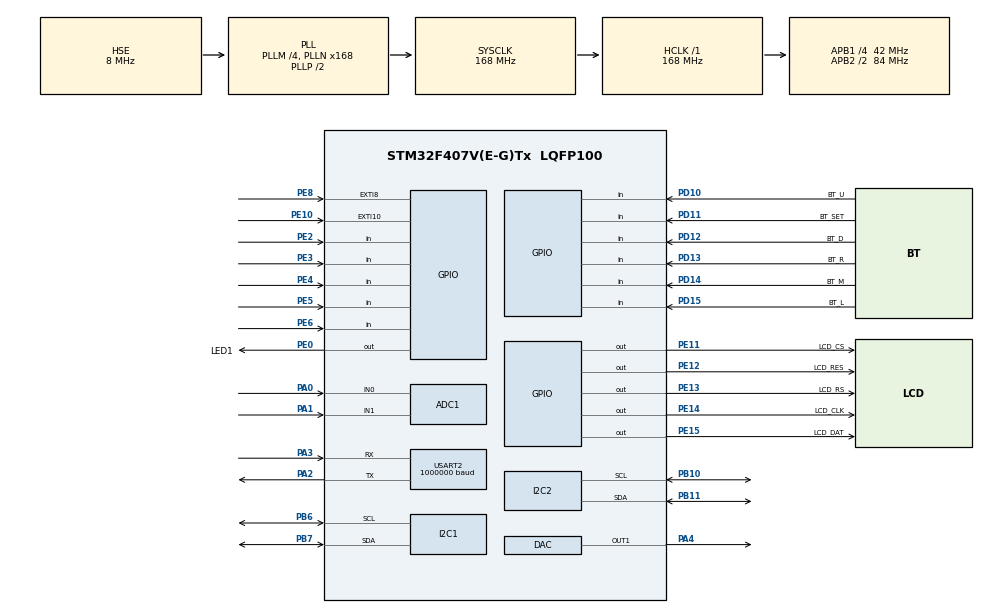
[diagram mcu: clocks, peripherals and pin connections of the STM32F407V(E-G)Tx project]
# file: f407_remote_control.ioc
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ADC1.Channel-1\#ChannelRegularConversion=ADC_CHANNEL_0
ADC1.Channel-2\#ChannelRegularConversion=ADC_CHANNEL_1
ADC1.Channel-3\#ChannelRegularConversion=ADC_CHANNEL_TEMPSENSOR
ADC1.Channel-4\#ChannelRegularConversion=ADC_CHANNEL_VREFINT
ADC1.DMAContinuousRequests=ENABLE
ADC1.ExternalTrigConv=ADC_EXTERNALTRIGCONV_T4_CC4
ADC1.InjNumberOfConversion=0
ADC1.NbrOfConversion=4
ADC1.NbrOfConversionFlag=1
ADC1.Rank-1\#ChannelRegularConversion=1
ADC1.Rank-2\#ChannelRegularConversion=2
ADC1.Rank-3\#ChannelRegularConversion=3
ADC1.Rank-4\#ChannelRegularConversion=4
ADC1.SamplingTime-1\#ChannelRegularConversion=ADC_SAMPLETIME_144CYCLES
ADC1.SamplingTime-2\#ChannelRegularConversion=ADC_SAMPLETIME_144CYCLES
ADC1.SamplingTime-3\#ChannelRegularConversion=ADC_SAMPLETIME_144CYCLES
ADC1.SamplingTime-4\#ChannelRegularConversion=ADC_SAMPLETIME_144CYCLES
ADC1.master=1
Dma.ADC1.0.Direction=DMA_PERIPH_TO_MEMORY
Dma.ADC1.0.FIFOMode=DMA_FIFOMODE_DISABLE
Dma.ADC1.0.Instance=DMA2_Stream0
Dma.ADC1.0.MemDataAlignment=DMA_MDATAALIGN_HALFWORD
Dma.ADC1.0.MemInc=DMA_MINC_ENABLE
Dma.ADC1.0.Mode=DMA_CIRCULAR
Dma.ADC1.0.PeriphDataAlignment=DMA_PDATAALIGN_HALFWORD
Dma.ADC1.0.PeriphInc=DMA_PINC_DISABLE
Dma.ADC1.0.Priority=DMA_PRIORITY_LOW
Dma.MEMTOMEM.1.Direction=DMA_MEMORY_TO_MEMORY
Dma.MEMTOMEM.1.FIFOMode=DMA_FIFOMODE_ENABLE
Dma.MEMTOMEM.1.FIFOThreshold=DMA_FIFO_THRESHOLD_FULL
Dma.MEMTOMEM.1.Instance=DMA2_Stream1
Dma.MEMTOMEM.1.MemBurst=DMA_MBURST_SINGLE
Dma.MEMTOMEM.1.MemDataAlignment=DMA_MDATAALIGN_WORD
Dma.MEMTOMEM.1.MemInc=DMA_MINC_ENABLE
Dma.MEMTOMEM.1.Mode=DMA_NORMAL
Dma.MEMTOMEM.1.PeriphBurst=DMA_PBURST_SINGLE
Dma.MEMTOMEM.1.PeriphDataAlignment=DMA_PDATAALIGN_WORD
Dma.MEMTOMEM.1.PeriphInc=DMA_PINC_ENABLE
Dma.MEMTOMEM.1.Priority=DMA_PRIORITY_LOW
Dma.Request0=ADC1
Dma.Request1=MEMTOMEM
I2C1.I2C_Mode=I2C_Standard
I2C2.I2C_Mode=I2C_Fast
Mcu.Family=STM32F4
Mcu.Name=STM32F407V(E-G)Tx
Mcu.Package=LQFP100
NVIC.ADC_IRQn=true\:0\:0\:false\:false\:true\:true\:true\:true
NVIC.DMA2_Stream0_IRQn=true\:0\:0\:false\:false\:true\:false\:true\:true
NVIC.PriorityGroup=NVIC_PRIORITYGROUP_4
NVIC.USART2_IRQn=true\:0\:0\:false\:false\:true\:true\:true\:true
PA0-WKUP.Signal=ADCx_IN0
PA1.Signal=ADCx_IN1
PA13.Mode=Trace_Asynchronous_SW
PA13.Signal=SYS_JTMS-SWDIO
PA14.Mode=Trace_Asynchronous_SW
PA14.Signal=SYS_JTCK-SWCLK
PA2.Mode=Asynchronous
PA2.Signal=USART2_TX
PA3.Mode=Asynchronous
PA3.Signal=USART2_RX
PA4.Signal=COMP_DAC1_group
PB10.Mode=I2C
PB10.Signal=I2C2_SCL
PB11.Mode=I2C
PB11.Signal=I2C2_SDA
PB3.Mode=Trace_Asynchronous_SW
PB3.Signal=SYS_JTDO-SWO
PB6.Mode=I2C
PB6.Signal=I2C1_SCL
PB7.Mode=I2C
PB7.Signal=I2C1_SDA
PD10.GPIO_Label=BT_U
PD10.GPIO_PuPd=GPIO_PULLUP
PD10.Signal=GPIO_Input
PD11.GPIO_Label=BT_SET
PD11.GPIO_PuPd=GPIO_PULLUP
PD11.Signal=GPIO_Input
PD12.GPIO_Label=BT_D
PD12.GPIO_PuPd=GPIO_PULLUP
PD12.Signal=GPIO_Input
PD13.GPIO_Label=BT_R
PD13.GPIO_PuPd=GPIO_PULLUP
PD13.Signal=GPIO_Input
PD14.GPIO_Label=BT_M
PD14.GPIO_PuPd=GPIO_PULLUP
PD14.Signal=GPIO_Input
PD15.GPIO_Label=BT_L
PD15.GPIO_PuPd=GPIO_PULLUP
PD15.Signal=GPIO_Input
PE0.GPIO_Label=LED1
PE0.Signal=GPIO_Output
PE10.GPIO_PuPd=GPIO_PULLUP
PE10.Signal=GPXTI10
PE11.GPIO_Label=LCD_CS
PE11.GPIO_PuPd=GPIO_NOPULL
PE11.GPIO_Speed=GPIO_SPEED_FREQ_HIGH
PE11.Signal=GPIO_Output
PE12.GPIO_Label=LCD_RES
PE12.GPIO_Speed=GPIO_SPEED_FREQ_LOW
PE12.Signal=GPIO_Output
PE13.GPIO_Label=LCD_RS
PE13.GPIO_Speed=GPIO_SPEED_FREQ_HIGH
PE13.Signal=GPIO_Output
PE14.GPIO_Label=LCD_CLK
PE14.GPIO_Speed=GPIO_SPEED_FREQ_VERY_HIGH
PE14.Signal=GPIO_Output
PE15.GPIO_Label=LCD_DAT
PE15.GPIO_Speed=GPIO_SPEED_FREQ_VERY_HIGH
PE15.Signal=GPIO_Output
PE2.Signal=GPIO_Input
PE3.Signal=GPIO_Input
PE4.Signal=GPIO_Input
PE5.Signal=GPIO_Input
PE6.Signal=GPIO_Input
PE8.GPIO_PuPd=GPIO_PULLUP
PE8.Signal=GPXTI8
PH0-OSC_IN.Mode=HSE-External-Oscillator
PH0-OSC_IN.Signal=RCC_OSC_IN
PH1-OSC_OUT.Mode=HSE-External-Oscillator
PH1-OSC_OUT.Signal=RCC_OSC_OUT
ProjectManager.HeapSize=0x400
ProjectManager.StackSize=0x800
ProjectManager.TargetToolchain=STM32CubeIDE
RCC.48MHZClocksFreq_Value=48000000
RCC.AHBFreq_Value=168000000
RCC.APB1CLKDivider=RCC_HCLK_DIV4
RCC.APB1Freq_Value=42000000
RCC.APB1TimFreq_Value=84000000
RCC.APB2CLKDivider=RCC_HCLK_DIV2
RCC.APB2Freq_Value=84000000
RCC.APB2TimFreq_Value=168000000
RCC.CortexFreq_Value=168000000
RCC.HCLKFreq_Value=168000000
RCC.HSE_VALUE=8000000
RCC.HSICalibrationValue=16
RCC.HSI_VALUE=16000000
RCC.LSE_VALUE=32768
RCC.PLLM=4
RCC.PLLN=168
RCC.PLLQ=7
RCC.PLLSourceVirtual=RCC_PLLSOURCE_HSE
RCC.SYSCLKFreq_VALUE=168000000
RCC.SYSCLKSource=RCC_SYSCLKSOURCE_PLLCLK
RCC.VCOOutputFreq_Value=336000000
SH.ADCx_IN0.0=ADC1_IN0,IN0
SH.ADCx_IN1.0=ADC1_IN1,IN1
SH.COMP_DAC1_group.0=DAC_OUT1,DAC_OUT1
TIM4.Channel-Output\ Compare4\ No\ Output=TIM_CHANNEL_4
TIM4.ClockDivision=TIM_CLOCKDIVISION_DIV2
TIM4.OCMode_4=TIM_OCMODE_TOGGLE
TIM4.Period=500
TIM4.Prescaler=41999
USART2.BaudRate=1000000
USART2.VirtualMode=VM_ASYNC
VP_ADC1_TempSens_Input.Mode=IN-TempSens
VP_ADC1_Vref_Input.Mode=IN-Vrefint
VP_CRC_VS_CRC.Mode=CRC_Activate
VP_RNG_VS_RNG.Mode=RNG_Activate
VP_TIM4_VS_ClockSourceINT.Mode=Internal
VP_TIM4_VS_no_output4.Mode=Output Compare4 No Output
board=custom

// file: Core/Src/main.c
/* USER CODE BEGIN Header */
/**
  ******************************************************************************
  * @file           : main.c
  * @brief          : Main program body
  ******************************************************************************
  * @attention
  *
  * Copyright (c) 2024 STMicroelectronics.
  * All rights reserved.
  *
  * This software is licensed under terms that can be found in the LICENSE file
  * in the root directory of this software component.
  * If no LICENSE file comes with this software, it is provided AS-IS.
  *
  ******************************************************************************
  * Author: Maltsev Yuriy
  */

/* USER CODE END Header */
#include "main.h"

/* USER CODE BEGIN Includes */
#include <stdio.h>    // printf
#include <stdbool.h>
#include <stdlib.h>   // atoi
#include <stdint.h>   // uint32_t uint8_t
#include <string.h>   // strlen, strcmp
#include <ctype.h>    // isxdigit isspace toupper
//#include <signal.h>
//#include <time.h>
//#include <sys/time.h>
//#include <sys/times.h>

#include "os.h"
#include "CRC.h"
#include "buttons.h"
#include "../BH1750/bh1750.h" // либо включить папку в список путей. Правой - Add/remove include path
#include "eeprom.h"
#include "i2c.h"
#include "bmp280.h"
#include "ATH25.h"
#include "testspeedcopy.h"
//#include "mt6701.h"

// то что хотим видеть в глобальной области видимости, подключаем непосредственно в "main.h"

/* USER CODE END Includes */

ADC_HandleTypeDef hadc1;
DMA_HandleTypeDef hdma_adc1;

CRC_HandleTypeDef hcrc;

DAC_HandleTypeDef hdac;

I2C_HandleTypeDef hi2c1;
I2C_HandleTypeDef hi2c2;

RNG_HandleTypeDef hrng;

TIM_HandleTypeDef htim4;

UART_HandleTypeDef huart2;

DMA_HandleTypeDef hdma_memtomem_dma2_stream1;

void SystemClock_Config(void);
static void MX_GPIO_Init(void);
static void MX_DMA_Init(void);
static void MX_ADC1_Init(void);
static void MX_CRC_Init(void);
static void MX_DAC_Init(void);
static void MX_I2C1_Init(void);
static void MX_I2C2_Init(void);
static void MX_RNG_Init(void);
static void MX_TIM4_Init(void);
static void MX_USART2_UART_Init(void);
/* USER CODE BEGIN PFP */
// область для объявления приватных функций
void command_ch(char);
void command_str(char*);
void command_bin(char*);
/* USER CODE END PFP */

/* USER CODE BEGIN 0 */
//int fputc(int ch, FILE *f){
int __io_putchar(int ch){
	ITM_SendChar((uint32_t) ch); // блокирующий режим встроен
	while (HAL_UART_Transmit(&huart2, (unsigned char*) &ch, 1, 10) == HAL_BUSY); // может вернуть HAL_ERROR, HAL_BUSY
	//while( CDC_Transmit_FS((uint8_t *)&ch, 1) == USBD_BUSY ); // USBD_FAIL , USBD_BUSY
	return ch;
}

// ещё способ передачи
void USART2_putch(char c) {
	//оидание готовности
	while (!(USART2->SR & USART_SR_TXE));
	USART2->DR = c;
}
void USART2_sendstr(const char *s) {
	while (*s)
		USART2_putch(*s++);
}

uint16_t adc[4] = {0};

char bufLCDstr[100] = { 0 };

/* callback на завершение преобразования ADC */
void HAL_ADC_ConvCpltCallback(ADC_HandleTypeDef* hadc) {
	if (hadc->Instance == ADC1) {
		//HAL_ADC_Stop_DMA(hadc);
		float vdd = (1 * 1.2f * 4096) / adc[3]; // если внутреннее опорное ровно 1.2В
		//printf("callback ADC: %4d, Tout= %4d (%.1f C), vdd= %4d (%.3f V), Tint= %4d\r\n", adc[0], adc[1], TMP36convertToTemperature(adc[1]), adc[2], vdd, adc[3]);
		printf("callback ADC: A0:%4d, A1:%4d, Tint=%4d, vdd=%4d (%.3f V)\r\n", adc[0], adc[1], adc[2], adc[3], vdd);
		//HAL_Delay(1);
		//HAL_ADC_Start_DMA(hadc, (uint32_t*)adcDMA, 4); // нужно перезапускать если не континуос режим и запуск не от таймера

		// LCD print
		ColorInk=BLACK;
		ColorBack=WHITE;
		//memset(bufLCDstr, 0, 100);
		sprintf(bufLCDstr, " Vdd:  %.3f V\n ADC1: %4d\n ADC2: %4d", vdd, adc[0], adc[1]);
		printstr_lcd(bufLCDstr, 0, 0, 1, 1);

#ifdef INC_MT6701_H_
		//task5_MT6701();
		uint16_t rez_raw = mt6701_read();
		float deg = rez_raw * (360.0f / 16384.0f);
		printf(" MT6701 = raw: %4d, deg: %.3f\r\n", rez_raw, deg);
#endif
		//memset(bufLCDstr, 0, 100);
		//sprintf(bufLCDstr, " MT6701: %4d\n deg: %.3f", rez_raw, deg);
		//printstr_lcd(bufLCDstr, 0, 4, 1, 1);

		//printchr_lcd('*', 0, 0, 1, 1);
		//lcd_prn(bufLCDstr);
	}
}

void HAL_GPIO_EXTI_Callback(uint16_t GPIO_Pin) {
	printf("GPIO_EXTI_callback %d\r\n", GPIO_Pin);
}

TaskInitTypeDef* t_BMP280;

/*--------------------------- UART RX ----------------------------------------*/
// ver 1.1
// Драйвер для приёма посылок через UART в асинхронном режиме.
// При получении данных ждём таймаут после которого понимаем что пора обработать полученное.
// Можно развить до следующего слоя абстрации, чтобы обрабатывать по счётчику принятых данных,
// или по команде переданной в начале фрейма.
// 11-12мсек на 1024 символа при 1млн бод = 0.68-0.74% эффективность канала
// RX_BUF_LEN * 8/(0.7 * bod) * 1.2 = X секунд для заполнения буфера с запасом 20%
// сократив выражение для 1млн бод Ttransmit (мсек) = RX_BUF_LEN * 0,014

//#define UART_DEBUG // закомментировать если не нужна отладка приёма UART
#define UART &huart2
#define HDMA_MEM2MEM &hdma_memtomem_dma2_stream1
#define RX_BUF_LEN 1024  //для DMA делать кратным uint32 - 4 байта
#define TICK_WAIT_RX 50  //3.5 ms для 256 byte
uint8_t chRx = 0;
char bufRx1[RX_BUF_LEN] = { 0 };
char bufRx2[RX_BUF_LEN] = { 0 };
volatile uint16_t idx = 0;
volatile uint16_t lenRxData = 0;
volatile uint8_t isFull = 0; // флаг переполнения
uint8_t isReciveCmplete = 0; // флаг приёма перевода строки
uint32_t UARTtimeout = 0;

#define _PRNFAST(s) HAL_UART_Transmit_IT(UART, (uint8_t*)s, sizeof(s)-1); HAL_Delay(1);

uint8_t isDMA = 0;
#if defined(STM32F407xx)
uint16_t maxlen = 500;
#else
uint16_t maxlen = 100;
#endif

/* Определил на практике следующие размеры буфера, которые может переварить данное ядро без пропуска данных.
 * f103 memcpy maxlen bytes 108 - 112 зависает, 104 справлятся, в DMA режиме - 512 справляется, чуть выше зависает
 * f407ve memcpy 524 байт виснет, 520 работает, DMA- 1856 работает, 1860 виснет
 * */

void HAL_UART_RxCpltCallback(UART_HandleTypeDef *huart) {
	//while (HAL_UART_Transmit(&huart1, (unsigned char*) bufRx, strlen(bufRx), 30) == HAL_BUSY); // для примера
	UARTtimeout = HAL_GetTick(); // сбрасываем таймаут приёма по которому начнём парсинг
	// доп проверка нужна чтобы избежать выхода за верхнюю границу на случай заполнения обоих буферв
	if (maxlen > RX_BUF_LEN)
		maxlen = RX_BUF_LEN;
	if (idx < maxlen - 1)
		bufRx1[idx++] = chRx;

	// TO DO: здесь можно добавить проверку:
	// если первый символ например указывает что будут бинарные данные, то принять байт длинны посылки и выполнять внешний код при заполнении
	// или если строковая то ждём /r /n.
	if (chRx == '\n' && bufRx1[0] != '*') {
		isReciveCmplete = 1; // начнётся обработка строки при следующем запуске task4_uartRx() не дожидаясь таймаута
	}

	/* Если второй буфер и так полный и первый тоже заполнился, то прерывания продолжаем,
	 * но новые данные не сохраняем (будут потери).
	 * Иначе перебросим данные из первого во второй и выставим флаг переполнения.
	 * memcpy не успевает скопировать от 100 до 120 байт без пропуска следующего символа на 1млн бод
	 * Получаем скорость копирования около 11МГц. volatile не спасает, как и оптимизация.
	 * Можно попробовать ускорить с помощью DMA, либо использовать блинный буфер,
	 * который точно не переполнится при самой длинной команде или данных. */
	if ((isFull == 0) && (idx >= maxlen - 1)) {	//if ((chRx[0] == '\n') || (idx >= RX_BUF_LEN - 1 - 0)) {
		bufRx1[maxlen - 1] = 0; // '\0' символ, если вдруг буду использовать как string
		if (isDMA == 0) {
			memcpy(bufRx2, bufRx1, maxlen); // strcpy не подходит тк данные могут быть бинарными
		} else {
			HAL_DMA_Start(HDMA_MEM2MEM, (uint32_t) bufRx1, (uint32_t) bufRx2, maxlen / 4);
			HAL_DMA_PollForTransfer(HDMA_MEM2MEM, HAL_DMA_FULL_TRANSFER, HAL_MAX_DELAY);
		}
		idx = 0;
		lenRxData = maxlen;
		isFull = 1;
		//_PRNFAST("_ENDF_\r\n");
	}
	// запрашиваем следующий байт данных из порта через прерывание
	HAL_UART_Receive_IT(UART, &chRx, 1);
}

/*
 * Полингом проверяем есть ли флаг переполнения входного буфера,
 * а так же был ли таймаут приёма.
 * TO DO: желательно начинать парсинг данных не по таймауту, а по сигнатуре конца посылки,
 * например для строк и символов это окончание строки \r или \n.
 * Для бинарных иной вариант, например фиксированная длинна, или длинна указанная в первом байте.
 */
void task4_uartRx() {
	// был переполнен входной буфер, данные уже лежат в bufRx2
	// нежелательное событие, так как данные либо не были вовремя обработаны и
	// скопилась очередь, либо пришла команда длинее чем входной буфер.
	if (isFull != 0) {
		_PRNFAST("_FULL_BUF_\r\n");
#ifdef UART_DEBUG
		HAL_StatusTypeDef stat = HAL_UART_Transmit_IT(UART, (uint8_t*) bufRx2, maxlen-1);
		HAL_Delay(TICK_WAIT_RX);
		if (stat != HAL_OK) {
			_PRNFAST("*");
		}
		_PRNFAST("_ENDF_\r\n");
#endif
		// тут должна быть обработка данных в буфере
		isFull = 0; // не сбрасываем пока до конца не обработали данные буфера
	}
	// данные в bufRx1, таймаут TICK_WAIT_RX мс
	if (idx > 0) {
		if (isReciveCmplete || (HAL_GetTick() > UARTtimeout + TICK_WAIT_RX)) {
			/*uint16_t n = idx;
			idx = 0; // как можно быстрее готовим к приёму данных
			memcpy(bufRx2, bufRx1, n);*/

			memcpy(bufRx2, bufRx1, idx);
			bufRx2[idx] = 0; // конец строки

#ifdef UART_DEBUG
			_PRNFAST("_T_");
			HAL_StatusTypeDef stat = HAL_UART_Transmit_IT(UART, (uint8_t*) bufRx2, idx);
			HAL_Delay(TICK_WAIT_RX);
			if (stat != HAL_OK) {
				_PRNFAST("!");
			}
			_PRNFAST("_END_T_\r\n");
#endif
			lenRxData = idx;
			idx = 0;
			isFull = 0;
			isReciveCmplete = 0;
			//UARTtimeout = HAL_GetTick();
			//char tmpbuf[20];
			//itoa((UARTtimeout - HAL_GetTick()), tmpbuf);
			printf("timeout: %d\r\n", (int) (HAL_GetTick() - UARTtimeout));

			/* TO DO: добавить семафор, чтобы не копировались данные из bufRx1 в bufRx2
			 * пока не завершилась обработка данных из буфера		 */

			// разделяем строковые (начинаются с '_'), бинарные (начинаются с '*') и односимвольные команды
			if (bufRx2[0] == '*') { //первый символ '*' значит бинарный поток данных
				command_bin(bufRx2);
			} else if (bufRx2[0] != 0 && bufRx2[0] != '\r' && bufRx2[0] != '\n') { // первый символ не конец сообщения
				if (bufRx2[1] == 0 || bufRx2[1] == '\r' || bufRx2[1] == '\n') {    // второй символ - конец сообщения
					command_ch(*bufRx2);  // значит приняли односимвольную команду
				} else
					command_str(bufRx2);  // иначе приняли строковую команду
			}

			/* if (*bufRx2 == '_') {
				command_str(bufRx2 + 1); // пропустим первый символ '_'
			} else if (*bufRx2 == '*') {
				command_bin(bufRx2 + 1); // пропустим первый символ '*'
			} else {
				command_ch(*bufRx2);
			} */
		}
	}
}

/* парсим бинарные команды
 * принять бинарный поток данных без символа \n для управления адресной светодиодной лентой
 * message format: ['*'][idx_led (1 byte)][size data (2 bytes)][data r,g,b (3*n bytes)]
 */
void command_bin(char *str) {
	USART2_sendstr("Recive bin\r\n");

	/* uint16_t len, count, i;
	uint16_t n;
	len = 0;
	count = 0;
	n = 0;
	i = 1; // пропустим первый символ '*'
	if (lenRxData >= 3) {
		n = (uint8_t) str[i++];
		len = ((uint8_t) str[i++] << 8) | (uint8_t) str[i++];
	}
	while (i < lenRxData && count < len) {
		count += 3;
		// count += Serial.readBytes(cmdStr, 3);
		if (n <= strip.numPixels()) //NUM_LEDS  strip.numPixels() ->uint16_t
			strip.setPixelColor(n++, str[i++], str[i++], str[i++]); //(uint16_t n, uint8_t r, uint8_t g, uint8_t b);
	}
	*/
}

// парсим строковые команды
// _XXX

 /* TODO: может вместо inline и strlen использовать макрос заменяющий следующее:
 sizeof вычисляется компилятором, strlen же занимает процессорное время.
 strncmp(cmdStr, "del", sizeof("del")-1) == 0
 static inline bool  //байт 61844  -> 61828  ->  61812 -> 61796 (замена всех на compCmd2)
#define CMPCMD(c) (strncmp(cmdStr, (c), sizeof((c))-1) == 0)
static inline bool compCmd2(const char* cmd){
  return strncmp(bufRx2, cmd, strlen(cmd)) == 0;
}
if (strncmp(token, "_i2c", strlen("_i2c")) == 0) {;}
Если сравнивать подстроку то пользуемся
int strncmp(const char *str1, const char *str2, size_t n).
Если сравниваем строки учитывая их длины то
int strcmp(const char *str1, const char *str2);

if (compCmd(token, "test")) {}
*/
static inline bool compCmd(char* str, const char* cmd){
  return strncmp(str, cmd, strlen(cmd)) == 0;
}

bool nextArg(char **token, uint8_t len, uint8_t isHex) {
	*token = strtok(NULL, " ");
	//printf("nextArg: %s\r\n", *token);
	if (*token == NULL) {
		printf("arg is NULL\r\n");
		return false;
	} else if (strlen(*token) != len) {
		printf("arg len != %d, token: \'%s\'\r\n", len, *token);
		return false;
	} else if (isHex == 1) {
		for (uint8_t i = 0; i < len; ++i) {
			char ch = (*token)[i];
			if (!isxdigit(ch)) { // проверяет, является ли c шестнадцатеричной цифрой
				printf("arg not hex: \'%s\'\r\n", *token);
				return false;
			}
		}
	}
	return true;
}

/** Команды для управления переферией через UART
_i2c bus_addr7_hex  'w/r' len_addr[0..2] reg_addr16_hex len_data16_hex *data_hex
_i2c 52 w 1 0010 0003 0A1B2C
_i2c 52 r 1 0000 0020
_i2c 52 r 0 0000 0010

_i2c 57 w 2 0010 0003 0A1B2C
_i2c 57 r 2 0000 00ff

DS3231
_i2c 68 r 1 0000 0013                       DS3231 read all registers
_i2c 68 w 1 0000 0007 00000000000000        DS3231 clear datetime
_i2c 68 w 1 0000 0007 00521800030423        DS3231 write datetime dt[0:6] c:m:h:00:d:m:y
_i2c 68 w 1 0000 0003 005218                DS3231 write time dt[0:2] c:m:h

INA226
_i2c 40 r 1 0001 0002   INA226 SHUNT_VOLTAGE  sign16 (1 LSB = 2.5 uV) R=0.1 Om
_i2c 40 r 1 0002 0002   INA226 BUS_VOLTAGE  unsign16 (1 LSB = 1.25 mV)

#define I2C_ADDR_24C02  0x52  // AT24C02, (A0 & A2 = GND, A1 = Vcc) I2C address: 0x52 = b1010010 = dec: 82
#define I2C_ADDR_24C32  0x57  // AT24C32,I2C address 0x57, bin: 01010111, dec: 87  (4096 x 8) page 32 bytes
#define I2C_ADDR_INA226 0x40  // INA226, I2C address 0x40, bin: 01000000
#define I2C_ADDR_OLED   0x3C  // OLED,   I2C address 0x3C, bin: 00111100, dec: 60
#define I2C_ADDR_DS3231 0x68  // RTC_DS3231, address 0x68, bin: 01101000, dec: 104
*/
void command_str(char *str) {
	//str++; // пропустим первый символ '_'
	USART2_sendstr("Recive: \'");
	USART2_sendstr(str); // echo
	USART2_sendstr("\'\r\n");
	char *token; // указатель на подстроку в str. Строка str изменяется командой strtok!!!
	token = strtok(str, " "); // get command
	// TO DO: не понимает команды если в конце не добавить пробел

	if (token == NULL) {
		printf("cmd token is NULL. str=%s\r\n", str);
		return;
	} else {
		printf("cmd token: \'%s\'\r\n", token);
	}

	if (strcmp(token, "test") == 0) {
		uint32_t startTime = HAL_GetTick();
		printf("cmd: test\r\ntime(ms): %d\r\n", (int) (HAL_GetTick() - startTime)); //uint32_t endTime = HAL_GetTick();
	} else if (strcmp(token, "task") == 0) {
		token = strtok(NULL, " ");
		if (token == NULL) {
			printf("task arg is NULL\r\n");
			return;
		}
		if (!strcmp(token, "bmp280")) {
			if (!nextArg(&token, 1, 0))
				return;
			char cmd = *token;
			printf("cmd arg: \'%c\'\r\n", cmd);
			//printf("cmd not exist. token: \'%s\'\r\n", token);

			switch (cmd) {
			case 'p':
				printf("cmd pause task change\r\n");
				//pause();
				printf("Task BMP280 Run/Stop\r\n");
				if (t_BMP280 != NULL && t_BMP280->task != NULL) {
					t_BMP280->pause = (t_BMP280->pause) ? 0 : 1;
				}
				break;
			case 't':
				token = strtok(NULL, " ");
				uint32_t period = (uint32_t) atoi(token);
				if (t_BMP280 != NULL && t_BMP280->task != NULL && period > 0) {
					t_BMP280->period = period;
				}
				break;
			default:
				break;
			}
		} else {
			printf("task name not exist\r\n");
			return;
		}
	} else if (strcmp(token, "i2c") == 0) {
		uint32_t startTime = HAL_GetTick(); // micros(); //millis();

		if(!nextArg(&token, 2, 1)) return;
		uint8_t busaddr = (hex2byte(token[0]) << 4) | hex2byte(token[1]); // адрес микросхемы
		printf("arg1 bus_addr: %d, 0x%02x\r\n", busaddr, busaddr);

		if(!nextArg(&token, 1, 0)) return;
		char wr = *token;
		printf("arg2 wr: \'%c\'\r\n", wr);

		if(!nextArg(&token, 1, 0)) return;
		uint8_t memaddrsize = (uint8_t) atoi(token); //memaddrsize=0,1,2
		printf("arg3 mem addr size: %d\r\n", memaddrsize);

		if(!nextArg(&token, 4, 1)) return; // адрес регистра
		//uint16_t memaddr = hex2ul(token, 4);
		uint16_t memaddr = (hex2byte(token[0]) << 12) | (hex2byte(token[1]) << 8)
				| (hex2byte(token[2]) << 4) | hex2byte(token[3]);
		printf("arg4 addr reg: %d, 0x%04x\r\n", memaddr, memaddr);

		//if(!nextArg(&token, 4, 1)) return; // пока так, нужно сделать чтобы не искал \0
		token = strtok(NULL, " ");
		uint16_t len_data = hex2ul(token, 4);
		printf("arg5 len_data: %d, 0x%04x\r\n", len_data, len_data);

		/* write */
		if ((wr == 'w') || (wr == 'W')) {
			token += 5; // с учётом длины предыдущего параметра len_data
			uint8_t buffW[len_data];
			for (int i = 0; i < len_data; ++i) {
				char chH = *token++;
				/* isspace(c): проверяет, является ли c пробелом (' '),
				 * символом перевода строки ('\n'), возвратом каретки ('\r'),
				 * перевод страницы ('\f'), горизонтальная ('\t') или вертикальная ('\v') табуляция
				 *
				 * isxdigit(c) - проверяет, является ли c шестнадцатеричной цифрой
				 * if ((chH == '\0') || (chH == '\r') || (chH == '\n') || (chH == ' '))
				 * */
				if (!isxdigit(chH)) {
					printf("Error: данных меньше чем указывалось. len_data: %d, i: %d\r\n",
							len_data, i);
					print_mem_8(buffW, len_data);
					return;
				}
				char chL = *token++;
				if (!isxdigit(chL)) {
					printf("Error: данных меньше чем указывалось. len_data: %d, i: %d\r\n",
							len_data, i);
					print_mem_8(buffW, len_data);
					return;
				}
				buffW[i] = (hex2byte(chH) << 4) | hex2byte(chL);
			}

//			if (len_data != 1) {
//				printf("Error: arg5 len_data != 1\r\n");
//				return;
//			}
//			if (!nextArg(&token, 2)) return;
//			uint8_t data = (hex2int(token[0]) << 4) | hex2int(token[1]);
//			printf("arg data: %d, 0x%02x\r\n", data, data);

			// типы данных для STM32 (unsigned int) aka (uint32_t) aka (unsigned long)
			uint32_t crc = ~0L; // crc Init  : 0xFFFFFFFF
			printf("data1: [");
			for (int i = 0; i < len_data; i++) {
				printf("%02X ", buffW[i]);
				crc32stream(buffW[i], &crc);
			}
			printf("]\r\nCRC START\r\n%x\r\nCRC END\r\n", (unsigned int)crc);

			printf("\r\ndata2: [");
			print_mem_8(buffW, len_data);
			uint32_t crc32 = crc32buf(buffW, len_data);
			printf("]\r\nCRC START\r\n%x\r\nCRC END\r\n", (unsigned int)crc32);

			if (len_data == 1)
				printf("\r\nWrite to I2C: [dev] 0x%02x -> [mem] 0x%02x = [data] 0x%02x\r\n",
						busaddr, memaddr, buffW[0]);
			else
				printf("\r\nWrite to I2C: [dev] 0x%02x -> [mem] 0x%02x..0x%02x\r\n",
						busaddr, memaddr, memaddr + len_data);

			if (memaddrsize == 1) {
				HAL_I2C_Mem_Write(H_I2C, busaddr << 1, memaddr, I2C_MEMADD_SIZE_8BIT,  buffW, len_data, 100);
			} else if (memaddrsize == 2) {
				HAL_I2C_Mem_Write(H_I2C, busaddr << 1, memaddr, I2C_MEMADD_SIZE_16BIT, buffW, len_data, 100);
			} else {
				printf("Error: memaddrsize not 1,2: %d", memaddrsize);
			}

			// TO DO: убрать после отладки BMP280
			if (busaddr == 0x76) {
				//bmp280_write(memaddr, data);
				HAL_Delay(100);
				BMP280_Read_All();
			}
		}
		/* read */	// i2c 76 r 1 0000 0100    i2c 76 r 1 00f5 0001
		else if ((wr == 'r') || (wr == 'R')) {
			if (len_data == 0) {
				printf("Error: len_data = 0\r\n");
				return;
			}
			uint8_t readbuf[len_data];

			if (memaddrsize == 0) { // принять по i2c не указывая адрес ячейки, полезно при чтении станицами и для некоторых микросхем
				HAL_StatusTypeDef st = HAL_I2C_Master_Receive(H_I2C, busaddr << 1, readbuf, len_data, 200); // HAL_MAX_DELAY
				if (st != HAL_OK) {
					printf("Error: HAL status HAL_I2C_Master_Receive = %d", st);
					return;
				}
			} else if (memaddrsize == 1) {
				//HAL_I2C_Mem_Write(H_I2C, busaddr << 1, memaddr, I2C_MEMADD_SIZE_8BIT,  buffW, len_data, 100);
				HAL_StatusTypeDef st = HAL_I2C_Mem_Read(H_I2C, busaddr << 1, memaddr, I2C_MEMADD_SIZE_8BIT, readbuf, len_data, 200);
				if (st != HAL_OK) {
					printf("Error: HAL status I2C_Mem_Read = %d", st);
					return;
				}
			} else if (memaddrsize == 2) {
				HAL_StatusTypeDef st = HAL_I2C_Mem_Read(H_I2C, busaddr << 1, memaddr, I2C_MEMADD_SIZE_16BIT, readbuf, len_data, 200);
				if (st != HAL_OK) {
					printf("Error: HAL status I2C_Mem_Read = %d", st);
					return;
				}
			} else {
				printf("Error: memaddrsize not 0,1,2: = %d", memaddrsize);
				return;
			}

			unsigned long crc = crc32buf(readbuf, len_data);
			printf("DATA START");
			print_mem_8(readbuf, len_data);
	        printf("DATA END\r\nCRC START\r\n%x\r\nCRC END\r\n", (unsigned int)crc);
		}

		uint32_t endTime = HAL_GetTick();
		//printf("\r\nWrite time(ms): %d\r\n", (int)(endTime - startTime));
		printf("Time(ms): %d\r\n\r\n", (int)(endTime - startTime));
	} else if (strcmp(token, "i2c2") == 0) {
		printf("cmd: i2c2\r\n");
	} else {
		printf("cmd not exist. token: \'%s\'\r\n", token);
		return;
	}
/* 	uint8_t writebuff[len_data];
	uint8_t id_wr_buff = 0;
	while (id_wr_buff < len_data) {
		if (ix + 1 >= n) {
			printf("cmd: i2c error read data string"); //длинна переданных данных меньше указанных
			break;
		}
		writebuff[id_wr_buff++] = (hex2int(cmdStr[ix++]) << 4)
				| hex2int(cmdStr[ix++]);
	}

	uint16 i = 0;
	byte k; // количество байт до конца страницы с указанного адреса
	while (i < len_data) {
		// каждую страницу записывать инициализируя обмен с начала
		_TW.beginTransmission(bus_addr);
		if (len_addr == 2)
			_TW.write((uint8_t) ((addr + i) >> 8));
		_TW.write((uint8_t) (addr + i));

		k = 8 - (addr + i) % 8; // количество байт до конца страницы с указанногго адреса
		k = (len_data - i < k) ? len_data - i : k; // запишем правильное количество оставшихся байт даже если не доходим до границы страницы
		int n = _TW.write(writebuff + i, k); //Wire : WireBase #define BUFFER_LENGTH 32
		_TW.endTransmission(); // отправляем на устройство по шшине i2c
		delay(15);
		i += k;
	}

	pin = (uint8) atoi(token); // uint8_t pin_num = atoi(token);
	Serial << "pin '" << pin << "'" << endl;
	token = strtok(NULL, " "); // arg2 WiringPinMode
	if (token != NULL && pin >= 0) {
		if (!strcmp(token, "PM") || !strcmp(token, "pinMode")) {
			token = strtok(NULL, " "); // arg3 WiringPinMode
			if (token != NULL) {
				pinmode = (WiringPinMode) atoi(token);
				Serial << "pinMode '" << pinmode << "'" << endl;
				if (pinmode >= 0) {
					pinMode(pin, pinmode);
				}
			}
		} else if (!strcmp(token, "DW") || !strcmp(token, "digitalWrite")) {
			token = strtok(NULL, " "); // arg2 WiringPinMode
			if (token != NULL) {
				value = atoi(token); // (uint8)atoi(token);
				Serial << "digitalWrite '" << value << "'" << endl;
				digitalWrite(pin, (uint8) value);
			}
		}
	} */
}

// парсим односимвольные команды
void command_ch(char c) {
	/*if (c == 't') testspeedcopy(); */
	switch (c) {
	case 'c':
		printf("Test LCD LPH8731\r\n");
		Lcd_test();
		break;
	case 'r':
#ifdef INC_MT6701_H_
		printf("mt6701 read\r\n");
		mt6701_read_test();
#endif
#ifdef INC_BMP280_H_
		printf("BMP280 read\r\n");
		BMP280_Read_All();
#endif
		break;
	case 'R':
#ifdef INC_BMP280_H_
		printf("BMP280 read press, temper\r\n");
		BMP280_Read_PT();
#endif
		break;
	case 't':
		printf("Test speed data copy\r\n");
#ifdef INC_TESTSPEEDCOPY_H_
		testspeedcopy();
#endif
		break;
	case 'h':
		printf("ATH25 Test\r\n");
#ifdef INC_ATH25_H_
		ATH25_test();
#endif
		break;
	case 's':
		printf("scan I2C\r\n");
		scanI2C();
		break;
	case 'q':
		printf("TIM_OC_Stop\r\n");
		//HAL_TIM_OC_Start(&htim4, TIM_CHANNEL_4); // запускаем таймер
		HAL_TIM_OC_Stop(&htim4, TIM_CHANNEL_4);
		break;
	case 'Q':
		printf("Task BMP280 Run/Stop\r\n");
		if (t_BMP280 != NULL && t_BMP280->task != NULL) {
			t_BMP280->pause = (t_BMP280->pause) ? 0 : 1;
		}
		break;
	case 'd':
		isDMA = !isDMA;
#if defined(STM32F407xx)
		maxlen = (isDMA == 0) ? 520 : 1856;
#else
		maxlen = (isDMA == 0) ? 100 : 512;
#endif
		printf("Set isDMA %d, maxlen %d\r\n", isDMA, maxlen);
		break;
	case 'u':
		maxlen += 4;
		if (maxlen > RX_BUF_LEN)
			maxlen = RX_BUF_LEN;
		printf("maxlen up %d\r\n", maxlen);
		break;
	case 'y':
		if (maxlen >= 4)
			maxlen -= 4;
		printf("maxlen dw %d\r\n", maxlen);
		break;
	case 'U':
		maxlen += 4*10;
		if (maxlen > RX_BUF_LEN)
			maxlen = RX_BUF_LEN;
		printf("maxlen up %d\r\n", maxlen);
		break;
	case 'Y':
		if (maxlen >= 4*10)
			maxlen -= 4*10;
		printf("maxlen dw %d\r\n", maxlen);
		break;
	case 'e':
		printf("Read EEPROM 24C02\r\n");
		//eeprom_readall();
		break;
	case '1':
		printf("Command 1\r\n");
		break;
	case '2':
		printf("Command 2\r\n");
		break;
	case '3':
		_PRNFAST("Command 3\r\n");
		break;
	default:
		break;
	}
}
/*----------------------------------------------------------------------------*/
/* stepper motor driver
STM32CubeIDE Settings:
Clock Configuration tab -> HCLK (MHz) to 72
Timer -> TIM1 -> Clock Source set to Internal Clock -> Prescaler set to 72-1
void microDelay (uint16_t delay)
{
  __HAL_TIM_SET_COUNTER(&htim1, 0);
  while (__HAL_TIM_GET_COUNTER(&htim1) < delay);
}

void step (int steps, uint8_t direction, uint16_t delay)
{
  int x;
  if (direction == 0)
    HAL_GPIO_WritePin(DIR_PORT, DIR_PIN, GPIO_PIN_SET);
  else
    HAL_GPIO_WritePin(DIR_PORT, DIR_PIN, GPIO_PIN_RESET);
  for(x=0; x<steps; x=x+1)
  {
    HAL_GPIO_WritePin(STEP_PORT, STEP_PIN, GPIO_PIN_SET);
    microDelay(delay);
    HAL_GPIO_WritePin(STEP_PORT, STEP_PIN, GPIO_PIN_RESET);
    microDelay(delay);
  }
}
step(800, 1, 5000); */

/*----------------------------------------------------------------------------*/
// простой пинг в терминал, что работаем и не зависли
void task1() {
	printf("_Worked: %.3f sec\r\n", HAL_GetTick()/1000.0f);
}

void task2_led() {
	LED_Toggle
	//ADC_read_DMA_mode();
}

// задача по опросу клавиатуры и выполнению команд
void task3_KB() {
	uint16_t kb = Keyboard_read();
	Keyboard_test(kb);
	if (kb & KB_LEFT)  {
		printf("Scanning I2C buses\r\n");
		scanI2C();

		printf("Lcd test\r\n");
		Lcd_test();
	}
	if (kb & KB_RIGHT)  {
		/*HAL_ADC_Stop_DMA(&hadc1);
		printf("Stop_DMA\r\n");*/

		/*TIM4->ARR = 300;
		TIM4->EGR = TIM_EGR_UG;
		printf("Set TIM4 period 500 ms\r\n");*/
	}
	if (kb & KB_SET)  {
		isDMA = !isDMA;
#if defined(STM32F407xx)
		maxlen = (isDMA == 0) ? 520 : 1856;
#else
		maxlen = (isDMA == 0) ? 100 : 512;
#endif
		printf("Set isDMA %d, maxlen %d\r\n", isDMA, maxlen);
	}
	if (kb & KB_UP) {
		maxlen += 4;
		if (maxlen > RX_BUF_LEN)
			maxlen = RX_BUF_LEN;
		printf("maxlen up %d\r\n", maxlen);
	}
	if (kb & KB_DOWN) {
		if (maxlen >= 4)
			maxlen -= 4;
		printf("maxlen dw %d\r\n", maxlen);
	}
	if (kb & KB_MID) {
#ifdef INC_BMP280_H_
		printf("BMP280 read\r\n");
		BMP280_Read_All();
#endif
	}
}

// mt6701
void task5_MT6701() {
#ifdef INC_MT6701_H_
	uint16_t rez_raw = mt6701_read();
	float deg = rez_raw * (360.0f / 16384.0f);
	//printf("MT6701 = raw: %4d, deg: %.3f", rez_raw, deg);

	//memset(bufLCDstr, 0, 100);
	sprintf(bufLCDstr, " MT6701: %4d\n deg: %.3f   \n               ", rez_raw, deg);
	printstr_lcd(bufLCDstr, 0, 4, 1, 1);
#endif
}

// Задача по опросу BMP280 и ATH25 и выводу результатов в терминал и на LCD
void task6_BMP280() {
#ifdef INC_BMP280_H_
	float temperature, pressure;
	//BMP280_Read_PT();
	BMP280_Read_Data(&temperature, &pressure);

#ifdef INC_ATH25_H_
	//ATH25_init();
	float ATH25_temperature, ATH25_humidity;
	if (HAL_OK == ATH25_Read_Data(&ATH25_temperature, &ATH25_humidity)) {
		printf("T: %.2f; P1: %.2f; P2: %.4f; H: %.2f; T2: %.2f\r\n",
				temperature, pressure, pressure/mmHg, ATH25_humidity, ATH25_temperature);
	} else {
		printf("T: %.2f; P1: %.2f; P2: %.4f;\r\n",
				temperature, pressure, pressure / mmHg);
	}
#else
	printf("T: %.2f; P1: %.2f; P2: %.4f;\r\n",
			temperature, pressure, pressure/mmHg);
	//printf("%.2f; %.2f; %.4f;\r\n", temperature, pressure, pressure/mmHg);
#endif

	//uint16_t rez_raw = mt6701_read();
	//float deg = rez_raw * (360.0f / 16384.0f);
	//printf("MT6701 = raw: %4d, deg: %.3f", rez_raw, deg);

	// LCD print
	//uint16_t lastInc = ColorInk;
	uint16_t lastBack = ColorBack;
	ColorInk=RED;
	ColorBack=WHITE;
	//memset(bufLCDstr, 0, 100);
#ifdef INC_ATH25_H_
	sprintf(bufLCDstr, "T: %.2f %d \nP: %.3f mmhg\nH: %.2f T2:%.2f", temperature, (int)pressure, pressure/mmHg, ATH25_humidity, ATH25_temperature);
#else
	sprintf(bufLCDstr, "T: %.2f %d \nP: %.3f mmhg", temperature, (int)pressure, pressure/mmHg);
#endif
	printstr_lcd(bufLCDstr, 0, 4, 1, 1);
	//ColorInk=lastInc;
	ColorBack=lastBack;
	ColorInk=BLACK;
#endif
}

//void task7_ATH25() {
//#ifdef INC_ATH25_H_
//	ATH25_test();
//#endif
//}

void OS_init() {
#if defined(STM32F103xB)
	printf("Run on controller 'STM32F103xB'\r\n");
#elif defined(STM32F407xx)
	printf("Run on controller 'STM32F407xx'\r\n");
#else
	printf("Run on controller 'uncnown'\r\n");
#endif

	// Init LCD
	InitLCD();

	//HAL_ADCEx_Calibration_Start(&hadc1);

	HAL_ADC_Start_DMA(&hadc1, (uint32_t*) adc, _SIZE_ARRAY(adc));
	/* меняем настройки прескалера у TIM4 */
	htim4.Init.Prescaler = 42000 - 1; // 36 MHz -> 1 KHz
	htim4.Init.Period = 5000; // msec
	TIM_Base_SetConfig(htim4.Instance, &htim4.Init); /* Set the Time Base configuration */
	HAL_TIM_OC_Start(&htim4, TIM_CHANNEL_4); // запускаем таймер
	//HAL_TIM_OC_Stop(&htim4, TIM_CHANNEL_4);
	/* настройка прескалера напрямую в регистры */
	//__HAL_TIM_SET_PRESCALER(&htim4, 42000 - 1);
	//TIM4->PSC = (&htim4)->Instance->PSC = htim4.Instance->PSChtim4.Instance->PSC
	//TIM4->PSC = 36000u;  /* Set the Prescaler value */
	//TIM4->ARR = 2000u;     /* Set the Autoreload value */
	//TIM4->EGR = TIM_EGR_UG; /* Generate an update event to reload the Prescaler and the repetition counter value immediately (only for advanced timer) */
	//__HAL_TIM_ENABLE_IT(&htim4, ADC_read_onechannelmode); // ????
	HAL_UART_Receive_IT(UART, &chRx, 1);

#ifdef INC_BMP280_H_
	printf("BMP280 init\r\n");
	bmp280_init();
#endif
#ifdef INC_ATH25_H_
	ATH25_init();
#endif

	//taskAdd(&task1, 30000);    // messeg: _Worked
	taskAdd(&task2_led, 500);    // LED_Toggle
	taskAdd(&task3_KB, 20);      // Keyboard_read
	taskAdd(&task4_uartRx, 5);   // проверка на таймаут приёма UART
#ifdef INC_MT6701_H_
	taskAdd(&task5_MT6701, 200); // опрос магнитного энкодера MT6701
#endif
#ifdef INC_BMP280_H_
	t_BMP280 = taskAdd(&task6_BMP280, 3000); // опрос BMP280
#endif
//#ifdef INC_ATH25_H_
//	taskAdd(&task7_ATH25, 3000);
//#endif

	//Lcd_test();
}

/* USER CODE END 0 */

int main(void)
{

  /* MCU Configuration--------------------------------------------------------*/

  /* Reset of all peripherals, Initializes the Flash interface and the Systick. */
  HAL_Init();

  /* Configure the system clock */
  SystemClock_Config();

  /* Initialize all configured peripherals */
  MX_GPIO_Init();
  MX_DMA_Init();
  MX_ADC1_Init();
  MX_CRC_Init();
  MX_DAC_Init();
  MX_I2C1_Init();
  MX_I2C2_Init();
  MX_RNG_Init();
  MX_TIM4_Init();
  MX_USART2_UART_Init();
  /* USER CODE BEGIN 2 */

  OS_init(); // init tasks

  OS_loop(); // цикл менеджера задач

  /* USER CODE END 2 */

  /* Infinite loop */
  while (1) {

    /* USER CODE BEGIN 3 */
      /*HAL_GPIO_TogglePin(LED1_GPIO_Port, LED1_Pin);
      //HAL_Delay(500);
	  for (uint16_t i = 0; i < 100; i++) {
		  task4_uartRx();
		  Keyboard_test(Keyboard_read());
		  HAL_Delay(5);
	  }*/
  }
  /* USER CODE END 3 */
}

void SystemClock_Config(void)
{
  RCC_OscInitTypeDef RCC_OscInitStruct = {0};
  RCC_ClkInitTypeDef RCC_ClkInitStruct = {0};

  /** Configure the main internal regulator output voltage
  */
  __HAL_RCC_PWR_CLK_ENABLE();
  __HAL_PWR_VOLTAGESCALING_CONFIG(PWR_REGULATOR_VOLTAGE_SCALE1);

  /** Initializes the RCC Oscillators according to the specified parameters
  * in the RCC_OscInitTypeDef structure.
  */
  RCC_OscInitStruct.OscillatorType = RCC_OSCILLATORTYPE_HSE;
  RCC_OscInitStruct.HSEState = RCC_HSE_ON;
  RCC_OscInitStruct.PLL.PLLState = RCC_PLL_ON;
  RCC_OscInitStruct.PLL.PLLSource = RCC_PLLSOURCE_HSE;
  RCC_OscInitStruct.PLL.PLLM = 4;
  RCC_OscInitStruct.PLL.PLLN = 168;
  RCC_OscInitStruct.PLL.PLLP = RCC_PLLP_DIV2;
  RCC_OscInitStruct.PLL.PLLQ = 7;
  if (HAL_RCC_OscConfig(&RCC_OscInitStruct) != HAL_OK)
  {
    Error_Handler();
  }

  /** Initializes the CPU, AHB and APB buses clocks
  */
  RCC_ClkInitStruct.ClockType = RCC_CLOCKTYPE_HCLK|RCC_CLOCKTYPE_SYSCLK
                              |RCC_CLOCKTYPE_PCLK1|RCC_CLOCKTYPE_PCLK2;
  RCC_ClkInitStruct.SYSCLKSource = RCC_SYSCLKSOURCE_PLLCLK;
  RCC_ClkInitStruct.AHBCLKDivider = RCC_SYSCLK_DIV1;
  RCC_ClkInitStruct.APB1CLKDivider = RCC_HCLK_DIV4;
  RCC_ClkInitStruct.APB2CLKDivider = RCC_HCLK_DIV2;

  if (HAL_RCC_ClockConfig(&RCC_ClkInitStruct, FLASH_LATENCY_5) != HAL_OK)
  {
    Error_Handler();
  }
}

static void MX_ADC1_Init(void)
{

  ADC_ChannelConfTypeDef sConfig = {0};

  /** Configure the global features of the ADC (Clock, Resolution, Data Alignment and number of conversion)
  */
  hadc1.Instance = ADC1;
  hadc1.Init.ClockPrescaler = ADC_CLOCK_SYNC_PCLK_DIV4;
  hadc1.Init.Resolution = ADC_RESOLUTION_12B;
  hadc1.Init.ScanConvMode = ENABLE;
  hadc1.Init.ContinuousConvMode = DISABLE;
  hadc1.Init.DiscontinuousConvMode = DISABLE;
  hadc1.Init.ExternalTrigConvEdge = ADC_EXTERNALTRIGCONVEDGE_RISING;
  hadc1.Init.ExternalTrigConv = ADC_EXTERNALTRIGCONV_T4_CC4;
  hadc1.Init.DataAlign = ADC_DATAALIGN_RIGHT;
  hadc1.Init.NbrOfConversion = 4;
  hadc1.Init.DMAContinuousRequests = ENABLE;
  hadc1.Init.EOCSelection = ADC_EOC_SINGLE_CONV;
  if (HAL_ADC_Init(&hadc1) != HAL_OK)
  {
    Error_Handler();
  }

  /** Configure for the selected ADC regular channel its corresponding rank in the sequencer and its sample time.
  */
  sConfig.Channel = ADC_CHANNEL_0;
  sConfig.Rank = 1;
  sConfig.SamplingTime = ADC_SAMPLETIME_144CYCLES;
  if (HAL_ADC_ConfigChannel(&hadc1, &sConfig) != HAL_OK)
  {
    Error_Handler();
  }

  /** Configure for the selected ADC regular channel its corresponding rank in the sequencer and its sample time.
  */
  sConfig.Channel = ADC_CHANNEL_1;
  sConfig.Rank = 2;
  if (HAL_ADC_ConfigChannel(&hadc1, &sConfig) != HAL_OK)
  {
    Error_Handler();
  }

  /** Configure for the selected ADC regular channel its corresponding rank in the sequencer and its sample time.
  */
  sConfig.Channel = ADC_CHANNEL_TEMPSENSOR;
  sConfig.Rank = 3;
  if (HAL_ADC_ConfigChannel(&hadc1, &sConfig) != HAL_OK)
  {
    Error_Handler();
  }

  /** Configure for the selected ADC regular channel its corresponding rank in the sequencer and its sample time.
  */
  sConfig.Channel = ADC_CHANNEL_VREFINT;
  sConfig.Rank = 4;
  if (HAL_ADC_ConfigChannel(&hadc1, &sConfig) != HAL_OK)
  {
    Error_Handler();
  }

}

static void MX_CRC_Init(void)
{

  hcrc.Instance = CRC;
  if (HAL_CRC_Init(&hcrc) != HAL_OK)
  {
    Error_Handler();
  }

}

static void MX_DAC_Init(void)
{

  DAC_ChannelConfTypeDef sConfig = {0};

  /** DAC Initialization
  */
  hdac.Instance = DAC;
  if (HAL_DAC_Init(&hdac) != HAL_OK)
  {
    Error_Handler();
  }

  /** DAC channel OUT1 config
  */
  sConfig.DAC_Trigger = DAC_TRIGGER_NONE;
  sConfig.DAC_OutputBuffer = DAC_OUTPUTBUFFER_ENABLE;
  if (HAL_DAC_ConfigChannel(&hdac, &sConfig, DAC_CHANNEL_1) != HAL_OK)
  {
    Error_Handler();
  }

}

static void MX_I2C1_Init(void)
{

  hi2c1.Instance = I2C1;
  hi2c1.Init.ClockSpeed = 100000;
  hi2c1.Init.DutyCycle = I2C_DUTYCYCLE_2;
  hi2c1.Init.OwnAddress1 = 0;
  hi2c1.Init.AddressingMode = I2C_ADDRESSINGMODE_7BIT;
  hi2c1.Init.DualAddressMode = I2C_DUALADDRESS_DISABLE;
  hi2c1.Init.OwnAddress2 = 0;
  hi2c1.Init.GeneralCallMode = I2C_GENERALCALL_DISABLE;
  hi2c1.Init.NoStretchMode = I2C_NOSTRETCH_DISABLE;
  if (HAL_I2C_Init(&hi2c1) != HAL_OK)
  {
    Error_Handler();
  }

}

static void MX_I2C2_Init(void)
{

  hi2c2.Instance = I2C2;
  hi2c2.Init.ClockSpeed = 400000;
  hi2c2.Init.DutyCycle = I2C_DUTYCYCLE_2;
  hi2c2.Init.OwnAddress1 = 0;
  hi2c2.Init.AddressingMode = I2C_ADDRESSINGMODE_7BIT;
  hi2c2.Init.DualAddressMode = I2C_DUALADDRESS_DISABLE;
  hi2c2.Init.OwnAddress2 = 0;
  hi2c2.Init.GeneralCallMode = I2C_GENERALCALL_DISABLE;
  hi2c2.Init.NoStretchMode = I2C_NOSTRETCH_DISABLE;
  if (HAL_I2C_Init(&hi2c2) != HAL_OK)
  {
    Error_Handler();
  }

}

static void MX_RNG_Init(void)
{

  hrng.Instance = RNG;
  if (HAL_RNG_Init(&hrng) != HAL_OK)
  {
    Error_Handler();
  }

}

static void MX_TIM4_Init(void)
{

  TIM_ClockConfigTypeDef sClockSourceConfig = {0};
  TIM_MasterConfigTypeDef sMasterConfig = {0};
  TIM_OC_InitTypeDef sConfigOC = {0};

  htim4.Instance = TIM4;
  htim4.Init.Prescaler = 41999;
  htim4.Init.CounterMode = TIM_COUNTERMODE_UP;
  htim4.Init.Period = 500;
  htim4.Init.ClockDivision = TIM_CLOCKDIVISION_DIV2;
  htim4.Init.AutoReloadPreload = TIM_AUTORELOAD_PRELOAD_DISABLE;
  if (HAL_TIM_Base_Init(&htim4) != HAL_OK)
  {
    Error_Handler();
  }
  sClockSourceConfig.ClockSource = TIM_CLOCKSOURCE_INTERNAL;
  if (HAL_TIM_ConfigClockSource(&htim4, &sClockSourceConfig) != HAL_OK)
  {
    Error_Handler();
  }
  if (HAL_TIM_OC_Init(&htim4) != HAL_OK)
  {
    Error_Handler();
  }
  sMasterConfig.MasterOutputTrigger = TIM_TRGO_RESET;
  sMasterConfig.MasterSlaveMode = TIM_MASTERSLAVEMODE_DISABLE;
  if (HAL_TIMEx_MasterConfigSynchronization(&htim4, &sMasterConfig) != HAL_OK)
  {
    Error_Handler();
  }
  sConfigOC.OCMode = TIM_OCMODE_TOGGLE;
  sConfigOC.Pulse = 0;
  sConfigOC.OCPolarity = TIM_OCPOLARITY_HIGH;
  sConfigOC.OCFastMode = TIM_OCFAST_DISABLE;
  if (HAL_TIM_OC_ConfigChannel(&htim4, &sConfigOC, TIM_CHANNEL_4) != HAL_OK)
  {
    Error_Handler();
  }

}

static void MX_USART2_UART_Init(void)
{

  huart2.Instance = USART2;
  huart2.Init.BaudRate = 1000000;
  huart2.Init.WordLength = UART_WORDLENGTH_8B;
  huart2.Init.StopBits = UART_STOPBITS_1;
  huart2.Init.Parity = UART_PARITY_NONE;
  huart2.Init.Mode = UART_MODE_TX_RX;
  huart2.Init.HwFlowCtl = UART_HWCONTROL_NONE;
  huart2.Init.OverSampling = UART_OVERSAMPLING_16;
  if (HAL_UART_Init(&huart2) != HAL_OK)
  {
    Error_Handler();
  }

}

static void MX_DMA_Init(void)
{

  /* DMA controller clock enable */
  __HAL_RCC_DMA2_CLK_ENABLE();

  /* Configure DMA request hdma_memtomem_dma2_stream1 on DMA2_Stream1 */
  hdma_memtomem_dma2_stream1.Instance = DMA2_Stream1;
  hdma_memtomem_dma2_stream1.Init.Channel = DMA_CHANNEL_0;
  hdma_memtomem_dma2_stream1.Init.Direction = DMA_MEMORY_TO_MEMORY;
  hdma_memtomem_dma2_stream1.Init.PeriphInc = DMA_PINC_ENABLE;
  hdma_memtomem_dma2_stream1.Init.MemInc = DMA_MINC_ENABLE;
  hdma_memtomem_dma2_stream1.Init.PeriphDataAlignment = DMA_PDATAALIGN_WORD;
  hdma_memtomem_dma2_stream1.Init.MemDataAlignment = DMA_MDATAALIGN_WORD;
  hdma_memtomem_dma2_stream1.Init.Mode = DMA_NORMAL;
  hdma_memtomem_dma2_stream1.Init.Priority = DMA_PRIORITY_LOW;
  hdma_memtomem_dma2_stream1.Init.FIFOMode = DMA_FIFOMODE_ENABLE;
  hdma_memtomem_dma2_stream1.Init.FIFOThreshold = DMA_FIFO_THRESHOLD_FULL;
  hdma_memtomem_dma2_stream1.Init.MemBurst = DMA_MBURST_SINGLE;
  hdma_memtomem_dma2_stream1.Init.PeriphBurst = DMA_PBURST_SINGLE;
  if (HAL_DMA_Init(&hdma_memtomem_dma2_stream1) != HAL_OK)
  {
    Error_Handler( );
  }

  /* DMA interrupt init */
  /* DMA2_Stream0_IRQn interrupt configuration */
  HAL_NVIC_SetPriority(DMA2_Stream0_IRQn, 0, 0);
  HAL_NVIC_EnableIRQ(DMA2_Stream0_IRQn);

}

static void MX_GPIO_Init(void)
{
  GPIO_InitTypeDef GPIO_InitStruct = {0};

  /* GPIO Ports Clock Enable */
  __HAL_RCC_GPIOE_CLK_ENABLE();
  __HAL_RCC_GPIOH_CLK_ENABLE();
  __HAL_RCC_GPIOA_CLK_ENABLE();
  __HAL_RCC_GPIOB_CLK_ENABLE();
  __HAL_RCC_GPIOD_CLK_ENABLE();

  /*Configure GPIO pin Output Level */
  HAL_GPIO_WritePin(GPIOE, LCD_CS_Pin|LCD_RES_Pin|LCD_RS_Pin|LCD_CLK_Pin
                          |LCD_DAT_Pin|LED1_Pin, GPIO_PIN_RESET);

  /*Configure GPIO pins : PE2 PE3 PE4 PE5
                           PE6 */
  GPIO_InitStruct.Pin = GPIO_PIN_2|GPIO_PIN_3|GPIO_PIN_4|GPIO_PIN_5
                          |GPIO_PIN_6;
  GPIO_InitStruct.Mode = GPIO_MODE_INPUT;
  GPIO_InitStruct.Pull = GPIO_NOPULL;
  HAL_GPIO_Init(GPIOE, &GPIO_InitStruct);

  /*Configure GPIO pins : PE8 PE10 */
  GPIO_InitStruct.Pin = GPIO_PIN_8|GPIO_PIN_10;
  GPIO_InitStruct.Mode = GPIO_MODE_IT_RISING;
  GPIO_InitStruct.Pull = GPIO_PULLUP;
  HAL_GPIO_Init(GPIOE, &GPIO_InitStruct);

  /*Configure GPIO pins : LCD_CS_Pin LCD_RS_Pin */
  GPIO_InitStruct.Pin = LCD_CS_Pin|LCD_RS_Pin;
  GPIO_InitStruct.Mode = GPIO_MODE_OUTPUT_PP;
  GPIO_InitStruct.Pull = GPIO_NOPULL;
  GPIO_InitStruct.Speed = GPIO_SPEED_FREQ_HIGH;
  HAL_GPIO_Init(GPIOE, &GPIO_InitStruct);

  /*Configure GPIO pins : LCD_RES_Pin LED1_Pin */
  GPIO_InitStruct.Pin = LCD_RES_Pin|LED1_Pin;
  GPIO_InitStruct.Mode = GPIO_MODE_OUTPUT_PP;
  GPIO_InitStruct.Pull = GPIO_NOPULL;
  GPIO_InitStruct.Speed = GPIO_SPEED_FREQ_LOW;
  HAL_GPIO_Init(GPIOE, &GPIO_InitStruct);

  /*Configure GPIO pins : LCD_CLK_Pin LCD_DAT_Pin */
  GPIO_InitStruct.Pin = LCD_CLK_Pin|LCD_DAT_Pin;
  GPIO_InitStruct.Mode = GPIO_MODE_OUTPUT_PP;
  GPIO_InitStruct.Pull = GPIO_NOPULL;
  GPIO_InitStruct.Speed = GPIO_SPEED_FREQ_VERY_HIGH;
  HAL_GPIO_Init(GPIOE, &GPIO_InitStruct);

  /*Configure GPIO pins : BT_U_Pin BT_SET_Pin BT_D_Pin BT_R_Pin
                           BT_M_Pin BT_L_Pin */
  GPIO_InitStruct.Pin = BT_U_Pin|BT_SET_Pin|BT_D_Pin|BT_R_Pin
                          |BT_M_Pin|BT_L_Pin;
  GPIO_InitStruct.Mode = GPIO_MODE_INPUT;
  GPIO_InitStruct.Pull = GPIO_PULLUP;
  HAL_GPIO_Init(GPIOD, &GPIO_InitStruct);

}

void Error_Handler(void)
{
  __disable_irq();
  while (1)
  {
  }
}
